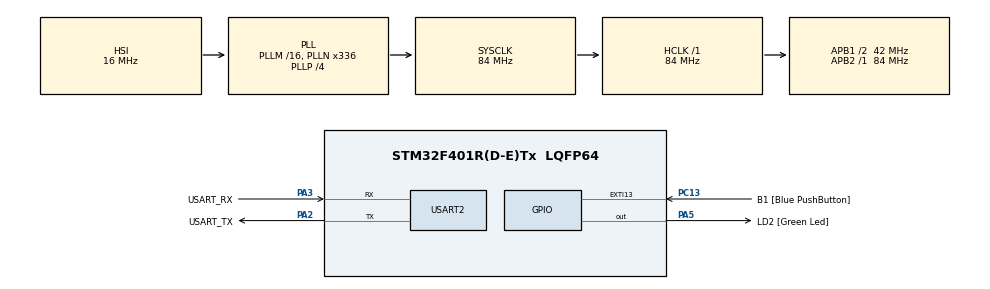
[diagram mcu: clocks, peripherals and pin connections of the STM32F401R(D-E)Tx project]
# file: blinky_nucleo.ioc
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Mcu.Family=STM32F4
Mcu.Name=STM32F401R(D-E)Tx
Mcu.Package=LQFP64
NVIC.PriorityGroup=NVIC_PRIORITYGROUP_0
PA13.GPIO_Label=TMS
PA13.Mode=Serial_Wire
PA13.Signal=SYS_JTMS-SWDIO
PA14.GPIO_Label=TCK
PA14.Mode=Serial_Wire
PA14.Signal=SYS_JTCK-SWCLK
PA2.GPIO_Label=USART_TX
PA2.GPIO_Mode=GPIO_MODE_AF_PP
PA2.GPIO_PuPd=GPIO_NOPULL
PA2.GPIO_Speed=GPIO_SPEED_FREQ_LOW
PA2.Mode=Asynchronous
PA2.Signal=USART2_TX
PA3.GPIO_Label=USART_RX
PA3.GPIO_Mode=GPIO_MODE_AF_PP
PA3.GPIO_PuPd=GPIO_NOPULL
PA3.GPIO_Speed=GPIO_SPEED_FREQ_LOW
PA3.Mode=Asynchronous
PA3.Signal=USART2_RX
PA5.GPIO_Label=LD2 [Green Led]
PA5.GPIO_Mode=GPIO_MODE_OUTPUT_PP
PA5.GPIO_PuPd=GPIO_NOPULL
PA5.GPIO_Speed=GPIO_SPEED_FREQ_LOW
PA5.Signal=GPIO_Output
PB3.GPIO_Label=SWO
PB3.Signal=SYS_JTDO-SWO
PC13-ANTI_TAMP.GPIO_Label=B1 [Blue PushButton]
PC13-ANTI_TAMP.GPIO_ModeDefaultEXTI=GPIO_MODE_IT_FALLING
PC13-ANTI_TAMP.GPIO_PuPd=GPIO_NOPULL
PC13-ANTI_TAMP.Signal=GPXTI13
PC14-OSC32_IN.Mode=LSE-External-Oscillator
PC14-OSC32_IN.Signal=RCC_OSC32_IN
PC15-OSC32_OUT.Mode=LSE-External-Oscillator
PC15-OSC32_OUT.Signal=RCC_OSC32_OUT
PH0\ -\ OSC_IN.Mode=HSE-External-Clock-Source
PH0\ -\ OSC_IN.Signal=RCC_OSC_IN
PH1\ -\ OSC_OUT.Mode=HSE-External-Clock-Source
PH1\ -\ OSC_OUT.Signal=RCC_OSC_OUT
ProjectManager.HeapSize=0x200
ProjectManager.StackSize=0x400
ProjectManager.TargetToolchain=STM32CubeIDE
RCC.48MHZClocksFreq_Value=48000000
RCC.AHBFreq_Value=84000000
RCC.APB1CLKDivider=RCC_HCLK_DIV2
RCC.APB1Freq_Value=42000000
RCC.APB1TimFreq_Value=84000000
RCC.APB2Freq_Value=84000000
RCC.APB2TimFreq_Value=84000000
RCC.CortexFreq_Value=84000000
RCC.HCLKFreq_Value=84000000
RCC.HSE_VALUE=8000000
RCC.HSI_VALUE=16000000
RCC.PLLN=336
RCC.PLLP=RCC_PLLP_DIV4
RCC.PLLQ=7
RCC.SYSCLKFreq_VALUE=84000000
RCC.SYSCLKSource=RCC_SYSCLKSOURCE_PLLCLK
RCC.VCOOutputFreq_Value=336000000
USART2.VirtualMode=VM_ASYNC
board=NUCLEO-F401RE

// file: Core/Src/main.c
/* USER CODE BEGIN Header */
/**
  ******************************************************************************
  * @file           : main.c
  * @brief          : Main program body
  ******************************************************************************
  * @attention
  *
  * Copyright (c) 2022 STMicroelectronics.
  * All rights reserved.
  *
  * This software is licensed under terms that can be found in the LICENSE file
  * in the root directory of this software component.
  * If no LICENSE file comes with this software, it is provided AS-IS.
  *
  ******************************************************************************
  */
/* USER CODE END Header */
#include "main.h"

/* USER CODE BEGIN Includes */
#include "arrebote.h"
/* USER CODE END Includes */

/* USER CODE BEGIN PD */
#define TIC_LED					(250)
#define TIC_ANTIRREBOTE			(1)
#define PULSADOR_DEBOUNCE		(20)
#define PULSADOR_ESTADO_ACTIVO	(1)
/* USER CODE END PD */

UART_HandleTypeDef huart2;

void SystemClock_Config(void);
static void MX_GPIO_Init(void);
static void MX_USART2_UART_Init(void);

int main(void)
{
  /* USER CODE BEGIN 1 */
	uint32_t tics_led;
	uint32_t tics_antirrebote;
	uint32_t parpadea;
	arrebote debounce_pulsador;
  /* USER CODE END 1 */

  /* MCU Configuration--------------------------------------------------------*/

  /* Reset of all peripherals, Initializes the Flash interface and the Systick. */
  HAL_Init();

  /* Configure the system clock */
  SystemClock_Config();

  /* Initialize all configured peripherals */
  MX_GPIO_Init();
  MX_USART2_UART_Init();
  /* USER CODE BEGIN 2 */
  inicializar_arrebote(&debounce_pulsador, PULSADOR_ESTADO_ACTIVO, PULSADOR_DEBOUNCE);
  tics_led = HAL_GetTick();
  tics_antirrebote = HAL_GetTick();
  parpadea = 1;
  /* USER CODE END 2 */

  /* Infinite loop */
  while (1)
  {

    /* USER CODE BEGIN 3 */
	if ((HAL_GetTick() - tics_led) >= TIC_LED)
	{
		tics_led = HAL_GetTick();
		if (parpadea)
		{
			HAL_GPIO_TogglePin(LD2_GPIO_Port, LD2_Pin);
		}

	}

	if ((HAL_GetTick() - tics_antirrebote) >= TIC_ANTIRREBOTE)
	{
		tics_antirrebote = HAL_GetTick();
		chequear_arrebote(&debounce_pulsador, HAL_GPIO_ReadPin(B1_GPIO_Port, B1_Pin));
		if (hay_flanco_arrebote(&debounce_pulsador))
		{
			parpadea ^= 1;
		}
	}
  }
  /* USER CODE END 3 */
}

void SystemClock_Config(void)
{
  RCC_OscInitTypeDef RCC_OscInitStruct = {0};
  RCC_ClkInitTypeDef RCC_ClkInitStruct = {0};

  /** Configure the main internal regulator output voltage
  */
  __HAL_RCC_PWR_CLK_ENABLE();
  __HAL_PWR_VOLTAGESCALING_CONFIG(PWR_REGULATOR_VOLTAGE_SCALE2);
  /** Initializes the RCC Oscillators according to the specified parameters
  * in the RCC_OscInitTypeDef structure.
  */
  RCC_OscInitStruct.OscillatorType = RCC_OSCILLATORTYPE_HSI;
  RCC_OscInitStruct.HSIState = RCC_HSI_ON;
  RCC_OscInitStruct.HSICalibrationValue = RCC_HSICALIBRATION_DEFAULT;
  RCC_OscInitStruct.PLL.PLLState = RCC_PLL_ON;
  RCC_OscInitStruct.PLL.PLLSource = RCC_PLLSOURCE_HSI;
  RCC_OscInitStruct.PLL.PLLM = 16;
  RCC_OscInitStruct.PLL.PLLN = 336;
  RCC_OscInitStruct.PLL.PLLP = RCC_PLLP_DIV4;
  RCC_OscInitStruct.PLL.PLLQ = 7;
  if (HAL_RCC_OscConfig(&RCC_OscInitStruct) != HAL_OK)
  {
    Error_Handler();
  }
  /** Initializes the CPU, AHB and APB buses clocks
  */
  RCC_ClkInitStruct.ClockType = RCC_CLOCKTYPE_HCLK|RCC_CLOCKTYPE_SYSCLK
                              |RCC_CLOCKTYPE_PCLK1|RCC_CLOCKTYPE_PCLK2;
  RCC_ClkInitStruct.SYSCLKSource = RCC_SYSCLKSOURCE_PLLCLK;
  RCC_ClkInitStruct.AHBCLKDivider = RCC_SYSCLK_DIV1;
  RCC_ClkInitStruct.APB1CLKDivider = RCC_HCLK_DIV2;
  RCC_ClkInitStruct.APB2CLKDivider = RCC_HCLK_DIV1;

  if (HAL_RCC_ClockConfig(&RCC_ClkInitStruct, FLASH_LATENCY_2) != HAL_OK)
  {
    Error_Handler();
  }
}

static void MX_USART2_UART_Init(void)
{

  huart2.Instance = USART2;
  huart2.Init.BaudRate = 115200;
  huart2.Init.WordLength = UART_WORDLENGTH_8B;
  huart2.Init.StopBits = UART_STOPBITS_1;
  huart2.Init.Parity = UART_PARITY_NONE;
  huart2.Init.Mode = UART_MODE_TX_RX;
  huart2.Init.HwFlowCtl = UART_HWCONTROL_NONE;
  huart2.Init.OverSampling = UART_OVERSAMPLING_16;
  if (HAL_UART_Init(&huart2) != HAL_OK)
  {
    Error_Handler();
  }

}

static void MX_GPIO_Init(void)
{
  GPIO_InitTypeDef GPIO_InitStruct = {0};

  /* GPIO Ports Clock Enable */
  __HAL_RCC_GPIOC_CLK_ENABLE();
  __HAL_RCC_GPIOH_CLK_ENABLE();
  __HAL_RCC_GPIOA_CLK_ENABLE();
  __HAL_RCC_GPIOB_CLK_ENABLE();

  /*Configure GPIO pin Output Level */
  HAL_GPIO_WritePin(LD2_GPIO_Port, LD2_Pin, GPIO_PIN_RESET);

  /*Configure GPIO pin : B1_Pin */
  GPIO_InitStruct.Pin = B1_Pin;
  GPIO_InitStruct.Mode = GPIO_MODE_IT_FALLING;
  GPIO_InitStruct.Pull = GPIO_NOPULL;
  HAL_GPIO_Init(B1_GPIO_Port, &GPIO_InitStruct);

  /*Configure GPIO pin : LD2_Pin */
  GPIO_InitStruct.Pin = LD2_Pin;
  GPIO_InitStruct.Mode = GPIO_MODE_OUTPUT_PP;
  GPIO_InitStruct.Pull = GPIO_NOPULL;
  GPIO_InitStruct.Speed = GPIO_SPEED_FREQ_LOW;
  HAL_GPIO_Init(LD2_GPIO_Port, &GPIO_InitStruct);

}

void Error_Handler(void)
{
  __disable_irq();
  while (1)
  {
  }
}
